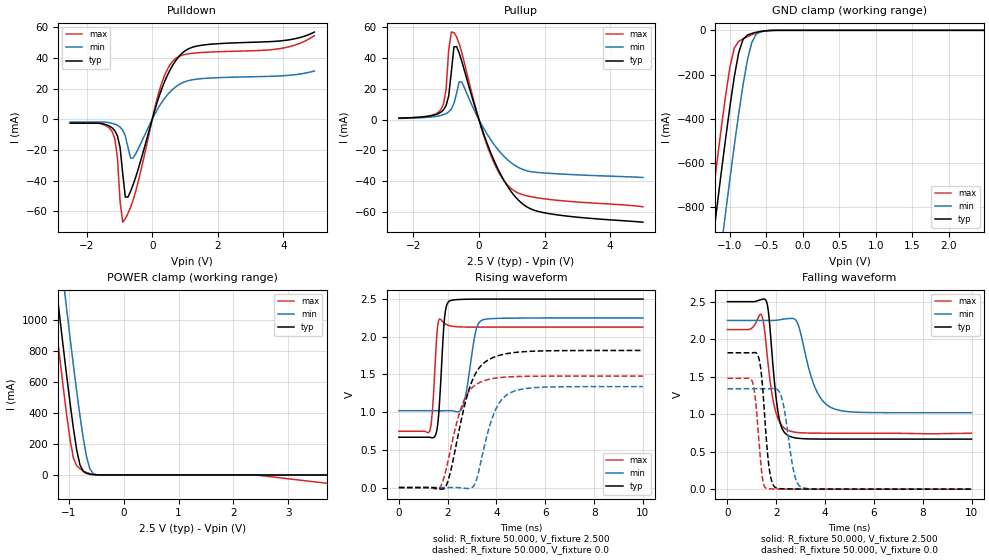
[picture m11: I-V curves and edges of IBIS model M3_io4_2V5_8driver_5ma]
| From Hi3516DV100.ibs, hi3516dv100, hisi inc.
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|   Model M3_io4_2V5_8driver_5ma
[Model] M3_io4_2V5_8driver_5ma
Model_type I/O
Enable   Active-Low
|   typ   min   max
C_comp   3.476pF   3.329pF   3.712pF
C_comp_pullup   1.841pF   1.829pF   1.901pF
C_comp_pulldown   1.413pF   1.369pF   1.594pF
[Temperature Range]   25.000   0.125k   -40.000
[Voltage Range]   2.500V   2.250V   2.750V
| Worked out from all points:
|   slope of the pulldown table from 0 to 0.375 V, typ, clamps not added: 15.3 ohm
|   slope of the pullup table from 0 to 0.375 V, typ, clamps not added: 16.8 ohm
|   GND clamp passes 1 mA (typ) near -0.46 V on its own axis
|   POWER clamp passes 1 mA (typ) near -0.51 V on its own axis
|   rising waveform, R_fixture 50.000, V_fixture 2.500: 20-80 % time 196ps typ, 346ps min, 147ps max; typ from 0.668 V to 2.5 V
|   rising waveform, R_fixture 50.000, V_fixture 0.0: 20-80 % time 833ps typ, 714ps min, 731ps max; typ from 0 V to 1.82 V
|   falling waveform, R_fixture 50.000, V_fixture 2.500: 20-80 % time 324ps typ, 668ps min, 379ps max; typ from 2.5 V to 0.667 V
|   falling waveform, R_fixture 50.000, V_fixture 0.0: 20-80 % time 262ps typ, 371ps min, 231ps max; typ from 1.82 V to 0 V
[Pulldown]
|Voltage   I(typ)   I(min)   I(max)
-2.5V     -2.588mA   -1.879mA   -2.45mA
-1.22V    -5.687mA   -2.686mA   -8.14mA
-1.06V    -10.94mA   -3.961mA   -25.34mA
-980mV    -18.41mA   -5.133mA   -53.66mA
-900mV    -35.4mA    -7.136mA   -67.16mA
-820mV    -50.84mA   -10.97mA   -64.96mA
-580mV    -42.55mA   -25.28mA   -52.51mA
220mV     15.59mA    8.687mA    18.98mA
700mV     37.73mA    20.84mA    39.38mA
1.34V     47.59mA    26.09mA    43.22mA
3.82V     50.91mA    28.15mA    45.81mA
4.94V     56.81mA    31.42mA    54.47mA
[Pullup]
|Voltage   I(typ)   I(min)   I(max)
-2.44V    916.7uA    730.8uA    875.1uA
-1.16V    4.745mA    2.663mA    6.39mA
-1V       9.113mA    3.884mA    19.56mA
-920mV    15.39mA    4.988mA    45.22mA
-840mV    30.92mA    6.848mA    56.71mA
-760mV    47.18mA    10.34mA    56.4mA
-600mV    43.05mA    24.49mA    49.05mA
-520mV    37.65mA    24.22mA    43.28mA
200mV     -12.58mA   -7.68mA    -13.89mA
920mV     -44.81mA   -26.94mA   -43.52mA
1.8V      -59.54mA   -34.33mA   -50.82mA
5V        -66.56mA   -37.56mA   -56.55mA
[GND_clamp]
|Voltage   I(typ)   I(min)   I(max)
-2.5V     -4.513A    -4.806A    -4.339A
-1.3V     -1.133A    -1.473A    -929.4mA
-1.24V    -968.9mA   -1.309A    -765.1mA
-1.18V    -806.9mA   -1.146A    -603.8mA
-1.12V    -647.9mA   -985.9mA   -447.1mA
-1.06V    -493.3mA   -827.8mA   -298.8mA
-940mV    -211.1mA   -522.9mA   -79.95mA
-880mV    -102.3mA   -379.7mA   -50.17mA
-760mV    -21.48mA   -135.2mA   -28.76mA
-640mV    -8.835mA   -17.88mA   -12.82mA
-520mV    -2.442mA   -2.565mA   -3.235mA
2.48V     0A         0A         0A
[POWER_clamp]
|Voltage   I(typ)   I(min)   I(max)
-2.48V    5.235A     5.657A     4.984A
-1.34V    1.553A     1.99A      1.289A
-1.28V    1.365A     1.802A     1.101A
-1.22V    1.178A     1.615A     914.7mA
-1.1V     812mA      1.246A     552.9mA
-1.04V    634.5mA    1.064A     382.2mA
-920mV    303.2mA    711.2mA    110.1mA
-800mV    65.14mA    382.9mA    41mA
-680mV    10.64mA    118.3mA    16.27mA
-440mV    158.4uA    434.1uA    224.4uA
2.44V     -46.26uA   -2.741nA   -1.326mA
5V        -48.94uA   -60.57nA   -107mA
[Ramp]
| variable   typ   min   max
dV/dt_r   1.091/0.833n   0.803/0.717n   0.887/0.731n
dV/dt_f   1.100/0.324n   0.738/0.668n   0.928/0.293n
R_load = 50.000
[Rising Waveform]
R_fixture= 50.000
V_fixture= 2.500
V_fixture_min= 2.250
V_fixture_max= 2.750
|time   V(typ)   V(min)   V(max)
0s        667.6mV    1.019V     746.5mV
1.256ns   667.2mV    1.019V     745.7mV
1.503ns   697.6mV    1.019V     1.735V
1.623ns   937.9mV    1.019V     2.206V
1.881ns   2.278V     1.019V     2.176V
2.088ns   2.476V     1.02V      2.146V
2.624ns   2.496V     1.081V     2.13V
3.154ns   2.499V     2.078V     2.128V
3.434ns   2.5V       2.224V     2.128V
10ns      2.5V       2.25V      2.128V
[Rising Waveform]
R_fixture= 50.000
V_fixture= 0.0
V_fixture_min= 0.0
V_fixture_max= 0.0
|time   V(typ)   V(min)   V(max)
0s        465.5uV    0V         330.3uV
1.61ns    -13.48mV   12.32uV    -19.3mV
1.901ns   3.221mV    -19.9uV    194.3mV
2.118ns   212.6mV    45.1uV     505.7mV
2.521ns   841.8mV    -2.522mV   1.029V
3.074ns   1.468V     26.29mV    1.346V
3.708ns   1.701V     804.7mV    1.437V
4.174ns   1.759V     1.151V     1.46V
4.898ns   1.796V     1.295V     1.473V
10ns      1.818V     1.339V     1.478V
[Falling Waveform]
R_fixture= 50.000
V_fixture= 2.500
V_fixture_min= 2.250
V_fixture_max= 2.750
|time   V(typ)   V(min)   V(max)
0s        2.5V       2.25V      2.128V
1.355ns   2.526V     2.25V      2.333V
1.587ns   2.51V      2.25V      1.916V
1.838ns   1.752V     2.25V      1.241V
2.091ns   988mV      2.256V     924.5mV
2.502ns   712.4mV    2.275V     781.1mV
2.851ns   680.4mV    2.229V     756.3mV
3.527ns   668.9mV    1.405V     747.4mV
4.221ns   667.7mV    1.092V     746.4mV
10ns      667.3mV    1.019V     745.9mV
[Falling Waveform]
R_fixture= 50.000
V_fixture= 0.0
V_fixture_min= 0.0
V_fixture_max= 0.0
|time   V(typ)   V(min)   V(max)
0s        1.818V     1.339V     1.478V
991ps     1.818V     1.339V     1.453V
1.256ns   1.777V     1.339V     780.3mV
1.482ns   1.173V     1.339V     64.73mV
1.715ns   264.5mV    1.339V     4.899mV
1.979ns   19.01mV    1.34V      1.746mV
2.272ns   5.137mV    1.154V     760.5uV
2.742ns   2.459mV    197.2mV    397.6uV
3.052ns   1.641mV    22.12mV    350.4uV
10ns      465.6uV    0V         330.3uV
